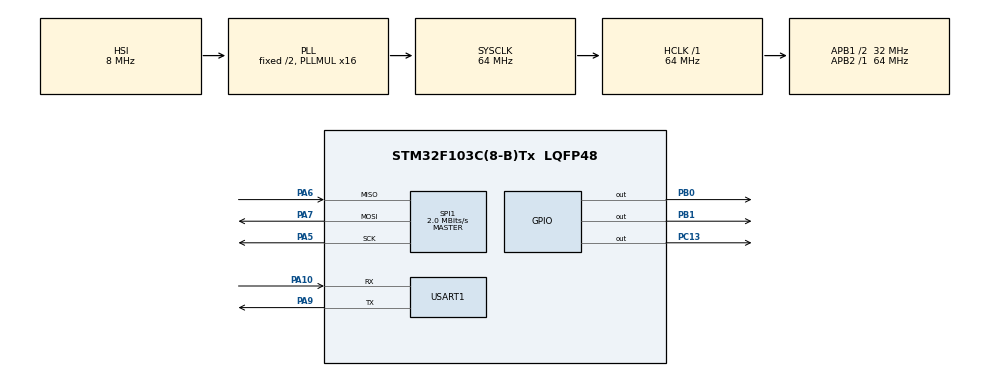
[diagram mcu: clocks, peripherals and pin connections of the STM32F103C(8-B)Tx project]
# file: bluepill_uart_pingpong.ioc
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Mcu.Family=STM32F1
Mcu.Name=STM32F103C(8-B)Tx
Mcu.Package=LQFP48
NVIC.PriorityGroup=NVIC_PRIORITYGROUP_4
PA10.Mode=Asynchronous
PA10.Signal=USART1_RX
PA13.Mode=Serial_Wire
PA13.Signal=SYS_JTMS-SWDIO
PA14.Mode=Serial_Wire
PA14.Signal=SYS_JTCK-SWCLK
PA5.Mode=Full_Duplex_Master
PA5.Signal=SPI1_SCK
PA6.Mode=Full_Duplex_Master
PA6.Signal=SPI1_MISO
PA7.Mode=Full_Duplex_Master
PA7.Signal=SPI1_MOSI
PA9.Mode=Asynchronous
PA9.Signal=USART1_TX
PB0.Signal=GPIO_Output
PB1.PinState=GPIO_PIN_SET
PB1.Signal=GPIO_Output
PC13-TAMPER-RTC.Signal=GPIO_Output
ProjectManager.HeapSize=0x200
ProjectManager.StackSize=0x400
ProjectManager.TargetToolchain=STM32CubeIDE
RCC.AHBFreq_Value=64000000
RCC.APB1CLKDivider=RCC_HCLK_DIV2
RCC.APB1Freq_Value=32000000
RCC.APB1TimFreq_Value=64000000
RCC.APB2Freq_Value=64000000
RCC.APB2TimFreq_Value=64000000
RCC.HCLKFreq_Value=64000000
RCC.PLLMUL=RCC_PLL_MUL16
RCC.SYSCLKFreq_VALUE=64000000
RCC.SYSCLKSource=RCC_SYSCLKSOURCE_PLLCLK
RCC.USBFreq_Value=64000000
SPI1.BaudRatePrescaler=SPI_BAUDRATEPRESCALER_32
SPI1.CalculateBaudRate=2.0 MBits/s
SPI1.Direction=SPI_DIRECTION_2LINES
SPI1.Mode=SPI_MODE_MASTER
SPI1.VirtualType=VM_MASTER
USART1.VirtualMode=VM_ASYNC
board=custom

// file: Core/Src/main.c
/* USER CODE BEGIN Header */
/**
  ******************************************************************************
  * @file           : main.c
  * @brief          : Main program body
  ******************************************************************************
  * @attention
  *
  * Copyright (c) 2026 STMicroelectronics.
  * All rights reserved.
  *
  * This software is licensed under terms that can be found in the LICENSE file
  * in the root directory of this software component.
  * If no LICENSE file comes with this software, it is provided AS-IS.
  *
  ******************************************************************************
  */
/* USER CODE END Header */
#include "main.h"

/* USER CODE BEGIN Includes */
#include <stdio.h>
#include <string.h>
#include <stdarg.h>
#include <stdbool.h>

/* USER CODE END Includes */

/* USER CODE BEGIN PD */
#define FW_VERSION_MAJOR 0
#define FW_VERSION_MINOR 2
#define FW_VERSION_PATCH 0

#define FW_VERSION_STR  "v0.2.0"

#define FW_ID_STRING "STM32F103C8 UART ping-pong demo " FW_VERSION_STR

// Pins
#define NRF_CE_PORT   GPIOB
#define NRF_CE_PIN    GPIO_PIN_0
#define NRF_CSN_PORT  GPIOB
#define NRF_CSN_PIN   GPIO_PIN_1

static inline void nrf_ce(int on)
{
  HAL_GPIO_WritePin(NRF_CE_PORT, NRF_CE_PIN, on ? GPIO_PIN_SET : GPIO_PIN_RESET);
}

static inline void nrf_csn(int on)
{
  HAL_GPIO_WritePin(NRF_CSN_PORT, NRF_CSN_PIN, on ? GPIO_PIN_SET : GPIO_PIN_RESET);
}

// Commands + regs
#define NRF_CMD_R_REGISTER     0x00
#define NRF_CMD_W_REGISTER     0x20
#define NRF_CMD_R_RX_PAYLOAD   0x61
#define NRF_CMD_W_TX_PAYLOAD   0xA0
#define NRF_CMD_FLUSH_TX       0xE1
#define NRF_CMD_FLUSH_RX       0xE2
#define NRF_CMD_NOP            0xFF

#define NRF_REG_CONFIG         0x00
#define NRF_REG_EN_AA          0x01
#define NRF_REG_EN_RXADDR      0x02
#define NRF_REG_SETUP_RETR     0x04
#define NRF_REG_RF_CH          0x05
#define NRF_REG_RF_SETUP       0x06
#define NRF_REG_STATUS         0x07
#define NRF_REG_OBSERVE_TX     0x08
#define NRF_REG_RPD            0x09
#define NRF_REG_RX_ADDR_P0     0x0A
#define NRF_REG_TX_ADDR        0x10
#define NRF_REG_RX_PW_P0       0x11
#define NRF_REG_FIFO_STATUS    0x17

/* USER CODE END PD */

SPI_HandleTypeDef hspi1;

UART_HandleTypeDef huart1;

/* USER CODE BEGIN PV */
//uint8_t ch;
//static char line[64];
//static size_t line_len = 0;

/* USER CODE END PV */

void SystemClock_Config(void);
static void MX_GPIO_Init(void);
static void MX_USART1_UART_Init(void);
static void MX_SPI1_Init(void);

/* USER CODE BEGIN 0 */
static void uart_send_str(UART_HandleTypeDef *huart, const char *s)
{
  HAL_UART_Transmit(huart, (uint8_t *)s, (uint16_t)strlen(s), 100);
}

static void uart_send_version(UART_HandleTypeDef *huart)
{
  char buf[16];
  int n = snprintf(buf, sizeof(buf), "%d.%d.%d\n",
                   FW_VERSION_MAJOR, FW_VERSION_MINOR, FW_VERSION_PATCH);
  if (n > 0) {
    uart_send_str(huart, buf);
  } else {
    uart_send_str(huart, "ERR\n");
  }
}

static void uart_send_uptime(UART_HandleTypeDef *huart)
{
  uint32_t ms = HAL_GetTick();  // milliseconds since boot
  char buf[16];
  int n = snprintf(buf, sizeof(buf), "%lu\n", (unsigned long)ms);
  if (n > 0) {
    uart_send_str(huart, buf);
  } else {
    uart_send_str(huart, "ERR\n");
  }
}

static void uart_printf(const char *fmt, ...)
{
  char buf[128];
  va_list ap;
  va_start(ap, fmt);
  int n = vsnprintf(buf, sizeof(buf), fmt, ap);
  va_end(ap);

  if (n < 0) return;

  if ((size_t)n >= sizeof(buf)) {
    n = (int)sizeof(buf) - 1; // buf is still NUL-terminated by vsnprintf
  }

  HAL_UART_Transmit(&huart1, (uint8_t*)buf, (uint16_t)n, HAL_MAX_DELAY);
}

// SPI xfer
static uint8_t nrf_spi_xfer(uint8_t b)
{
  uint8_t rx = 0;
  HAL_SPI_TransmitReceive(&hspi1, &b, &rx, 1, HAL_MAX_DELAY);
  return rx;
}

// Register IO
static uint8_t nrf_get_status_cmd(void)
{
  uint8_t st;
  nrf_csn(0);
  st = nrf_spi_xfer(NRF_CMD_NOP);
  nrf_csn(1);
  return st;
}

static uint8_t nrf_read_reg(uint8_t reg)
{
  uint8_t v;
  nrf_csn(0);
  nrf_spi_xfer(NRF_CMD_R_REGISTER | (reg & 0x1F));
  v = nrf_spi_xfer(NRF_CMD_NOP);
  nrf_csn(1);
  return v;
}

static void nrf_write_reg(uint8_t reg, uint8_t v)
{
  nrf_csn(0);
  nrf_spi_xfer(NRF_CMD_W_REGISTER | (reg & 0x1F));
  nrf_spi_xfer(v);
  nrf_csn(1);
}

static void nrf_write_reg_buf(uint8_t reg, const uint8_t *buf, uint8_t len)
{
  nrf_csn(0);
  nrf_spi_xfer(NRF_CMD_W_REGISTER | (reg & 0x1F));
  for (uint8_t i = 0; i < len; i++) nrf_spi_xfer(buf[i]);
  nrf_csn(1);
}

// FIFO flush + IRQ clear
static void nrf_flush_rx(void)
{
  nrf_csn(0); nrf_spi_xfer(NRF_CMD_FLUSH_RX); nrf_csn(1);
}

static void nrf_flush_tx(void)
{
  nrf_csn(0); nrf_spi_xfer(NRF_CMD_FLUSH_TX); nrf_csn(1);
}

static void nrf_clear_irqs(void)
{
  // Clear RX_DR(6), TX_DS(5), MAX_RT(4)
  nrf_write_reg(NRF_REG_STATUS, 0x70);
}

static void nrf_enter_rx_clean(void)
{
  nrf_ce(0);

  nrf_flush_rx();
  nrf_clear_irqs();

  nrf_write_reg(NRF_REG_CONFIG, 0x0F); // PWR_UP=1, PRIM_RX=1, CRC enabled
  HAL_Delay(2);

  nrf_ce(1);
}

static void nrf_enter_tx_clean(void)
{
  nrf_ce(0);

  nrf_clear_irqs();
  nrf_flush_tx();

  nrf_write_reg(NRF_REG_CONFIG, 0x0E); // PWR_UP=1, PRIM_RX=0, CRC enabled
  HAL_Delay(2);
}

// Payload IO
static int nrf_rx_available(void)
{
  uint8_t fifo = nrf_read_reg(NRF_REG_FIFO_STATUS);
  return ((fifo & 0x01u) == 0u); // RX_EMPTY bit0 == 0 => data available
}

static void nrf_read_payload32(uint8_t *p32)
{
  nrf_csn(0);
  nrf_spi_xfer(NRF_CMD_R_RX_PAYLOAD);
  for (int i = 0; i < 32; i++) p32[i] = nrf_spi_xfer(NRF_CMD_NOP);
  nrf_csn(1);
}

static void nrf_write_payload32(const uint8_t *p32)
{
  nrf_csn(0);
  nrf_spi_xfer(NRF_CMD_W_TX_PAYLOAD);
  for (int i = 0; i < 32; i++) nrf_spi_xfer(p32[i]);
  nrf_csn(1);
}

// Common link init (call on both nodes)
static void nrf_init_link_common(void)
{
  static const uint8_t addr[5] = {0xE7,0xE7,0xE7,0xE7,0xE7};

  // Electrical idle + settle
  nrf_ce(0);
  nrf_csn(1);
  HAL_Delay(10);

  // Your “sync kick” (good!)
  nrf_flush_rx();
  nrf_flush_tx();
  nrf_clear_irqs();

  // Channel
  nrf_write_reg(NRF_REG_RF_CH, 76);

  // Auto-ack on pipe0
  nrf_write_reg(NRF_REG_EN_AA, 0x01);
  // Enable pipe0
  nrf_write_reg(NRF_REG_EN_RXADDR, 0x01);

  // Retries: ARD=4 (1500us), ARC=15
  nrf_write_reg(NRF_REG_SETUP_RETR, 0x4F);

  // RF_SETUP: 250kbps, -6dBm
  nrf_write_reg(NRF_REG_RF_SETUP, 0x24);

  // Addresses for pipe0 and TX (must match for auto-ack)
  nrf_write_reg_buf(NRF_REG_RX_ADDR_P0, addr, 5);
  nrf_write_reg_buf(NRF_REG_TX_ADDR, addr, 5);

  // Fixed payload size
  nrf_write_reg(NRF_REG_RX_PW_P0, 32);

  nrf_flush_rx();
  nrf_flush_tx();
  nrf_clear_irqs();

  // Start in RX mode
  nrf_enter_rx_clean();

}

typedef struct {
  int rc;                 // 0 OK, -1 MAX_RT, -2 RX TIMEOUT, -3 TXWAIT
  uint8_t st_tx;
  uint8_t tx_acked;
  uint8_t observe_tx;
  uint8_t rpd;
} gw_rf_diag_t;

static gw_rf_diag_t gw_txrx_expect4(const uint8_t req4[4],
                                    const uint8_t rsp4[4],
                                    uint8_t out_rx32[32],
                                    uint32_t tx_wait_ms,
                                    uint32_t rx_wait_ms)
{
  gw_rf_diag_t d;
  memset(&d, 0, sizeof(d));
  d.rc = -2;

  uint8_t tx[32] = {0};
  memcpy(tx, req4, 4);

  nrf_enter_tx_clean();
  nrf_write_payload32(tx);

  nrf_ce(1);
  HAL_Delay(1);
  nrf_ce(0);

  bool tx_done = false;
  uint32_t start = HAL_GetTick();
  while ((HAL_GetTick() - start) < tx_wait_ms) {
    uint8_t st = nrf_get_status_cmd();

    if (st & (1u<<5)) { // TX_DS
      d.st_tx = st;
      d.tx_acked = 1;
      nrf_clear_irqs();
      d.observe_tx = nrf_read_reg(NRF_REG_OBSERVE_TX);
      tx_done = true;
      break;
    }

    if (st & (1u<<4)) { // MAX_RT
      d.st_tx = st;
      d.tx_acked = 0;
      nrf_clear_irqs();
      d.observe_tx = nrf_read_reg(NRF_REG_OBSERVE_TX);
      nrf_flush_tx();
      nrf_enter_rx_clean();
      d.rc = -1;
      return d;
    }
  }

  if (!tx_done) {
    d.st_tx = nrf_get_status_cmd();
    d.observe_tx = nrf_read_reg(NRF_REG_OBSERVE_TX);
    nrf_ce(0);
    nrf_clear_irqs();
    nrf_flush_tx();
    nrf_enter_rx_clean();
    d.rc = -3;
    return d;
  }

  nrf_enter_rx_clean();

  start = HAL_GetTick();
  while ((HAL_GetTick() - start) < rx_wait_ms) {
    while (nrf_rx_available()) {
      nrf_read_payload32(out_rx32);
      nrf_clear_irqs();

      if (out_rx32[0]==rsp4[0] && out_rx32[1]==rsp4[1] &&
          out_rx32[2]==rsp4[2] && out_rx32[3]==rsp4[3]) {
        d.rc = 0;
        goto out;
      }
    }
  }

out:
  d.rpd = (uint8_t)(nrf_read_reg(NRF_REG_RPD) & 1u);
  if (d.rc != 0) d.rc = -2;
  return d;
}

typedef struct
{
  int     rc;          // 0=PONG OK, -1=MAX_RT, -2=TIMEOUT, -3=TXWAIT timeout
  uint8_t st_tx;       // STATUS byte snapshot at TX completion
  uint8_t observe_tx;  // OBSERVE_TX snapshot at TX completion (ARC_CNT + PLOS_CNT)
  uint8_t rpd;         // RPD snapshot in RX mode (0/1)
  uint8_t tx_acked;    // 1 if TX_DS observed (ACK received), else 0
} gw_ping_res_t;

static gw_ping_res_t gateway_send_ping_wait_pong(void)
{
  static const uint8_t req[4] = {'P','I','N','G'};
  static const uint8_t rsp[4] = {'P','O','N','G'};
  uint8_t rx[32];

  gw_rf_diag_t d = gw_txrx_expect4(req, rsp, rx, 100, 200);

  gw_ping_res_t r = {0};
  r.rc = d.rc;
  r.st_tx = d.st_tx;
  r.observe_tx = d.observe_tx;
  r.rpd = d.rpd;
  r.tx_acked = d.tx_acked;
  return r;
}

typedef struct {
  int rc;                 // 0=OK, -1=MAX_RT, -2=TIMEOUT, -3=TXWAIT timeout, -4=BAD_RSP
  uint8_t st_tx;
  uint8_t tx_acked;
  uint8_t observe_tx;
  uint8_t rpd;

  // Payload
  int32_t t0_mC;
  int32_t t1_mC;
  uint16_t flags;
  uint16_t age_ms;
  uint16_t a0;
  uint16_t a1;
} gw_temps_res_t;

static uint16_t get_le16(const uint8_t *p)
{
  uint16_t v;
  memcpy(&v, p, sizeof(v));
  return v;
}

static uint32_t get_le32(const uint8_t *p)
{
  uint32_t v;
  memcpy(&v, p, sizeof(v));
  return v;
}

static gw_temps_res_t gateway_send_gtmp_wait_tmp(void)
{
  static const uint8_t req[4] = {'G','T','M','P'};
  static const uint8_t rsp[4] = {'T','M','P','!'};
  uint8_t rx[32];

  gw_rf_diag_t d = gw_txrx_expect4(req, rsp, rx, 100, 200);

  gw_temps_res_t tr = {0};
  tr.rc = d.rc;
  tr.st_tx = d.st_tx;
  tr.observe_tx = d.observe_tx;
  tr.rpd = d.rpd;
  tr.tx_acked = d.tx_acked;

  if (tr.rc == 0) {
    tr.t0_mC  = (int32_t)get_le32(&rx[4]);
    tr.t1_mC  = (int32_t)get_le32(&rx[8]);
    tr.flags  = get_le16(&rx[12]);
    tr.age_ms = get_le16(&rx[14]);
    tr.a0     = get_le16(&rx[16]);
    tr.a1     = get_le16(&rx[18]);
  }

  return tr;
}

typedef struct {
  uint32_t ping_total;
  uint32_t pong_ok;
  uint32_t fail_timeout;
  uint32_t fail_maxrt;
  uint32_t retries_sum;
} gw_stats_t;

static void gw_handle_ping_result(gw_stats_t *s, const gw_ping_res_t *r)
{
  // Decode nRF OBSERVE_TX + RPD
  const uint8_t arc_cnt  = (uint8_t)(r->observe_tx & 0x0F);         // retries used for last TX
  const uint8_t plos_cnt = (uint8_t)((r->observe_tx >> 4) & 0x0F);  // 4-bit trend counter
  const uint8_t rpd      = (uint8_t)(r->rpd & 0x01);

  s->ping_total++;
  s->retries_sum += arc_cnt;

  if (r->rc == 0) {
    s->pong_ok++;
    uart_printf("PONG OK   retries=%u plos=%u RPD=%u ack=%u st=0x%02X  ok=%lu/%lu rt_fail=%lu\r\n",
                arc_cnt, plos_cnt, rpd,
                (unsigned)r->tx_acked, (unsigned)r->st_tx,
                (unsigned long)s->pong_ok, (unsigned long)s->ping_total,
                (unsigned long)(s->fail_timeout + s->fail_maxrt));
  } else if (r->rc == -1) {
    s->fail_maxrt++;
    uart_printf("FAIL MAX_RT   retries=%u plos=%u RPD=%u ack=%u st=0x%02X  maxrt=%lu/%lu\r\n",
                arc_cnt, plos_cnt, rpd,
                (unsigned)r->tx_acked, (unsigned)r->st_tx,
                (unsigned long)s->fail_maxrt, (unsigned long)s->ping_total);
  } else if (r->rc == -2) {
    s->fail_timeout++;
    uart_printf("FAIL TIMEOUT  retries=%u plos=%u RPD=%u ack=%u st=0x%02X  timeout=%lu/%lu\r\n",
                arc_cnt, plos_cnt, rpd,
                (unsigned)r->tx_acked, (unsigned)r->st_tx,
                (unsigned long)s->fail_timeout, (unsigned long)s->ping_total);
  } else {
    // TXWAIT timeout or other internal code
    uart_printf("FAIL rc=%d   retries=%u plos=%u RPD=%u ack=%u st=0x%02X\r\n",
                r->rc, arc_cnt, plos_cnt, rpd,
                (unsigned)r->tx_acked, (unsigned)r->st_tx);
  }
}

static void gw_maybe_print_stats(const gw_stats_t *s, uint32_t period)
{
  if (period == 0u) {
    return;
  }

  if ((s->ping_total % period) == 0u) {
    const uint32_t rt_fail = s->fail_timeout + s->fail_maxrt;
    const uint32_t avg_retry_x100 = (s->ping_total ? (s->retries_sum * 100u) / s->ping_total : 0u);

    uart_printf("STATS: ok=%lu fail=%lu (timeout=%lu maxrt=%lu) avgRetry=%lu.%02lu\r\n",
                (unsigned long)s->pong_ok,
                (unsigned long)rt_fail,
                (unsigned long)s->fail_timeout,
                (unsigned long)s->fail_maxrt,
                (unsigned long)(avg_retry_x100 / 100u),
                (unsigned long)(avg_retry_x100 % 100u));
  }
}

static void nrf_print_rf_setup(void)
{
  uint8_t rf = nrf_read_reg(NRF_REG_RF_SETUP);

  const char *rate = "1Mbps";
  if (rf & (1u << 5)) rate = "250kbps";
  else if (rf & (1u << 3)) rate = "2Mbps";

  uint8_t pwr = (rf >> 1) & 0x03;
  const char *pwr_s = "?";
  switch (pwr) {
    case 0: pwr_s = "-18dBm"; break;
    case 1: pwr_s = "-12dBm"; break;
    case 2: pwr_s = "-6dBm";  break;
    case 3: pwr_s = "0dBm";   break;
  }

  uint8_t retr = nrf_read_reg(NRF_REG_SETUP_RETR);
  uint8_t ard = (retr >> 4) & 0x0F;
  uint8_t arc = retr & 0x0F;

  uart_printf(
    "NRF: ch=%u rate=%s txpwr=%s retr=%uus x%u\r\n",
    nrf_read_reg(NRF_REG_RF_CH),
    rate,
    pwr_s,
    (ard + 1) * 250,
    arc
  );
}

static void gateway_periodic_rf_task(void)
{
  static gw_stats_t s = {0};
  static uint32_t next_ping_ms = 0;
  static uint32_t consec_fail = 0;
  static uint8_t flip = 0;

  const uint32_t now = HAL_GetTick();
  if ((int32_t)(now - next_ping_ms) < 0) {
    return; // not yet time
  }
  next_ping_ms = now + 1000u;

  if (flip == 0)
  {
    gw_ping_res_t r = gateway_send_ping_wait_pong();
    if (r.rc == 0) consec_fail = 0;
    else consec_fail++;

    gw_handle_ping_result(&s, &r);
    gw_maybe_print_stats(&s, 60u);
  }
  else
  {
    gw_temps_res_t tr = gateway_send_gtmp_wait_tmp();
    if (tr.rc == 0) {
      consec_fail = 0;
      uart_printf("ADC0=%u ADC1=%u  T0=%ld mC  T1=%ld mC age=%u flags=0x%04X\r\n",
                  (unsigned)tr.a0, (unsigned)tr.a1,
                  (long)tr.t0_mC, (long)tr.t1_mC,
                  (unsigned)tr.age_ms, (unsigned)tr.flags);
    } else {
      consec_fail++;
      uart_printf("GTMP FAIL rc=%d st=0x%02X obs=0x%02X rpd=%u\r\n",
                  tr.rc, tr.st_tx, tr.observe_tx, tr.rpd);
    }
  }

  flip ^= 1;

  if (consec_fail >= 5u) {
    uart_printf("NRF reinit after %lu fails\r\n", (unsigned long)consec_fail);
    nrf_init_link_common();
    consec_fail = 0;
  }
}

static void host_cmd_poll_uart1(void)
{
  static uint8_t ch;
  static char line[64];
  static size_t line_len = 0;

  // Non-blocking poll: read as many available bytes as possible
  while (HAL_UART_Receive(&huart1, &ch, 1, 0) == HAL_OK)
  {
    if (ch == '\r')
    {
      // ignore CR
    }
    else if (ch == '\n')
    {
      line[line_len] = '\0';

      if (strcmp(line, "PING") == 0)
      {
        uart_send_str(&huart1, "PONG\n");
        HAL_GPIO_TogglePin(GPIOC, GPIO_PIN_13); // optional
      }
      else if (strcmp(line, "ID?") == 0)
      {
        uart_send_str(&huart1, FW_ID_STRING "\n");
      }
      else if (strcmp(line, "VER?") == 0)
      {
        uart_send_version(&huart1);
      }
      else if (strcmp(line, "UPTIME?") == 0)
      {
        uart_send_uptime(&huart1);
      }
      else if (strcmp(line, "RPING?") == 0)
      {
        // RF ping remote node
        gw_ping_res_t r = gateway_send_ping_wait_pong();
        if (r.rc == 0) {
          uart_send_str(&huart1, "RPONG\n");
        } else {
          uart_printf("RPING FAIL rc=%d st=0x%02X obs=0x%02X rpd=%u\n",
                      r.rc, r.st_tx, r.observe_tx, r.rpd);
        }
      }
      else if (strcmp(line, "TEMP?") == 0)
      {
        // One-shot RF temperature fetch
        gw_temps_res_t tr = gateway_send_gtmp_wait_tmp();
        if (tr.rc == 0) {
          // One-line, machine-friendly format
          uart_printf("TEMP ADC0=%u ADC1=%u T0=%ld T1=%ld age=%u flags=0x%04X\n",
                      (unsigned)tr.a0, (unsigned)tr.a1,
                      (long)tr.t0_mC, (long)tr.t1_mC,
                      (unsigned)tr.age_ms, (unsigned)tr.flags);
        } else {
          uart_printf("TEMP FAIL rc=%d st=0x%02X obs=0x%02X rpd=%u\n",
                      tr.rc, tr.st_tx, tr.observe_tx, tr.rpd);
        }
      }
      else
      {
        uart_send_str(&huart1, "ERR\n");
      }

      line_len = 0;
    }
    else
    {
      if (line_len < (sizeof(line) - 1))
      {
        line[line_len++] = (char)ch;
      }
      else
      {
        // overflow -> reset and complain
        line_len = 0;
        uart_send_str(&huart1, "ERR\n");
      }
    }
  }
}

/* USER CODE END 0 */

int main(void)
{

  /* MCU Configuration--------------------------------------------------------*/

  /* Reset of all peripherals, Initializes the Flash interface and the Systick. */
  HAL_Init();

  /* Configure the system clock */
  SystemClock_Config();

  /* Initialize all configured peripherals */
  MX_GPIO_Init();
  MX_USART1_UART_Init();
  MX_SPI1_Init();
  /* USER CODE BEGIN 2 */

  nrf_init_link_common();
  nrf_print_rf_setup();
  uart_printf("Gateway NRF STATUS=0x%02X\r\n", nrf_get_status_cmd());

//  uart_send_str(&huart1, "READY\n");

  /* USER CODE END 2 */

  /* Infinite loop */
  /* USER CODE BEGIN WHILE */
  while (1)
  {
	  // Always keep UART responsive
	  host_cmd_poll_uart1();

	  #if 0
	  gateway_periodic_rf_task();
	  #endif

	  // Optional: tiny sleep to reduce CPU burn (still responsive)
	  // HAL_Delay(1);
    /* USER CODE END WHILE */

  }
}

void SystemClock_Config(void)
{
  RCC_OscInitTypeDef RCC_OscInitStruct = {0};
  RCC_ClkInitTypeDef RCC_ClkInitStruct = {0};

  /** Initializes the RCC Oscillators according to the specified parameters
  * in the RCC_OscInitTypeDef structure.
  */
  RCC_OscInitStruct.OscillatorType = RCC_OSCILLATORTYPE_HSI;
  RCC_OscInitStruct.HSIState = RCC_HSI_ON;
  RCC_OscInitStruct.HSICalibrationValue = RCC_HSICALIBRATION_DEFAULT;
  RCC_OscInitStruct.PLL.PLLState = RCC_PLL_ON;
  RCC_OscInitStruct.PLL.PLLSource = RCC_PLLSOURCE_HSI_DIV2;
  RCC_OscInitStruct.PLL.PLLMUL = RCC_PLL_MUL16;
  if (HAL_RCC_OscConfig(&RCC_OscInitStruct) != HAL_OK)
  {
    Error_Handler();
  }

  /** Initializes the CPU, AHB and APB buses clocks
  */
  RCC_ClkInitStruct.ClockType = RCC_CLOCKTYPE_HCLK|RCC_CLOCKTYPE_SYSCLK
                              |RCC_CLOCKTYPE_PCLK1|RCC_CLOCKTYPE_PCLK2;
  RCC_ClkInitStruct.SYSCLKSource = RCC_SYSCLKSOURCE_PLLCLK;
  RCC_ClkInitStruct.AHBCLKDivider = RCC_SYSCLK_DIV1;
  RCC_ClkInitStruct.APB1CLKDivider = RCC_HCLK_DIV2;
  RCC_ClkInitStruct.APB2CLKDivider = RCC_HCLK_DIV1;

  if (HAL_RCC_ClockConfig(&RCC_ClkInitStruct, FLASH_LATENCY_2) != HAL_OK)
  {
    Error_Handler();
  }
}

static void MX_SPI1_Init(void)
{

  /* SPI1 parameter configuration*/
  hspi1.Instance = SPI1;
  hspi1.Init.Mode = SPI_MODE_MASTER;
  hspi1.Init.Direction = SPI_DIRECTION_2LINES;
  hspi1.Init.DataSize = SPI_DATASIZE_8BIT;
  hspi1.Init.CLKPolarity = SPI_POLARITY_LOW;
  hspi1.Init.CLKPhase = SPI_PHASE_1EDGE;
  hspi1.Init.NSS = SPI_NSS_SOFT;
  hspi1.Init.BaudRatePrescaler = SPI_BAUDRATEPRESCALER_32;
  hspi1.Init.FirstBit = SPI_FIRSTBIT_MSB;
  hspi1.Init.TIMode = SPI_TIMODE_DISABLE;
  hspi1.Init.CRCCalculation = SPI_CRCCALCULATION_DISABLE;
  hspi1.Init.CRCPolynomial = 10;
  if (HAL_SPI_Init(&hspi1) != HAL_OK)
  {
    Error_Handler();
  }

}

static void MX_USART1_UART_Init(void)
{

  huart1.Instance = USART1;
  huart1.Init.BaudRate = 115200;
  huart1.Init.WordLength = UART_WORDLENGTH_8B;
  huart1.Init.StopBits = UART_STOPBITS_1;
  huart1.Init.Parity = UART_PARITY_NONE;
  huart1.Init.Mode = UART_MODE_TX_RX;
  huart1.Init.HwFlowCtl = UART_HWCONTROL_NONE;
  huart1.Init.OverSampling = UART_OVERSAMPLING_16;
  if (HAL_UART_Init(&huart1) != HAL_OK)
  {
    Error_Handler();
  }

}

static void MX_GPIO_Init(void)
{
  GPIO_InitTypeDef GPIO_InitStruct = {0};

  /* GPIO Ports Clock Enable */
  __HAL_RCC_GPIOC_CLK_ENABLE();
  __HAL_RCC_GPIOA_CLK_ENABLE();
  __HAL_RCC_GPIOB_CLK_ENABLE();

  /*Configure GPIO pin Output Level */
  HAL_GPIO_WritePin(GPIOC, GPIO_PIN_13, GPIO_PIN_RESET);

  /*Configure GPIO pin Output Level */
  HAL_GPIO_WritePin(GPIOB, GPIO_PIN_0, GPIO_PIN_RESET);

  /*Configure GPIO pin Output Level */
  HAL_GPIO_WritePin(GPIOB, GPIO_PIN_1, GPIO_PIN_SET);

  /*Configure GPIO pin : PC13 */
  GPIO_InitStruct.Pin = GPIO_PIN_13;
  GPIO_InitStruct.Mode = GPIO_MODE_OUTPUT_PP;
  GPIO_InitStruct.Pull = GPIO_NOPULL;
  GPIO_InitStruct.Speed = GPIO_SPEED_FREQ_LOW;
  HAL_GPIO_Init(GPIOC, &GPIO_InitStruct);

  /*Configure GPIO pins : PB0 PB1 */
  GPIO_InitStruct.Pin = GPIO_PIN_0|GPIO_PIN_1;
  GPIO_InitStruct.Mode = GPIO_MODE_OUTPUT_PP;
  GPIO_InitStruct.Pull = GPIO_NOPULL;
  GPIO_InitStruct.Speed = GPIO_SPEED_FREQ_LOW;
  HAL_GPIO_Init(GPIOB, &GPIO_InitStruct);

}

void Error_Handler(void)
{
  __disable_irq();
  while (1)
  {
  }
}
